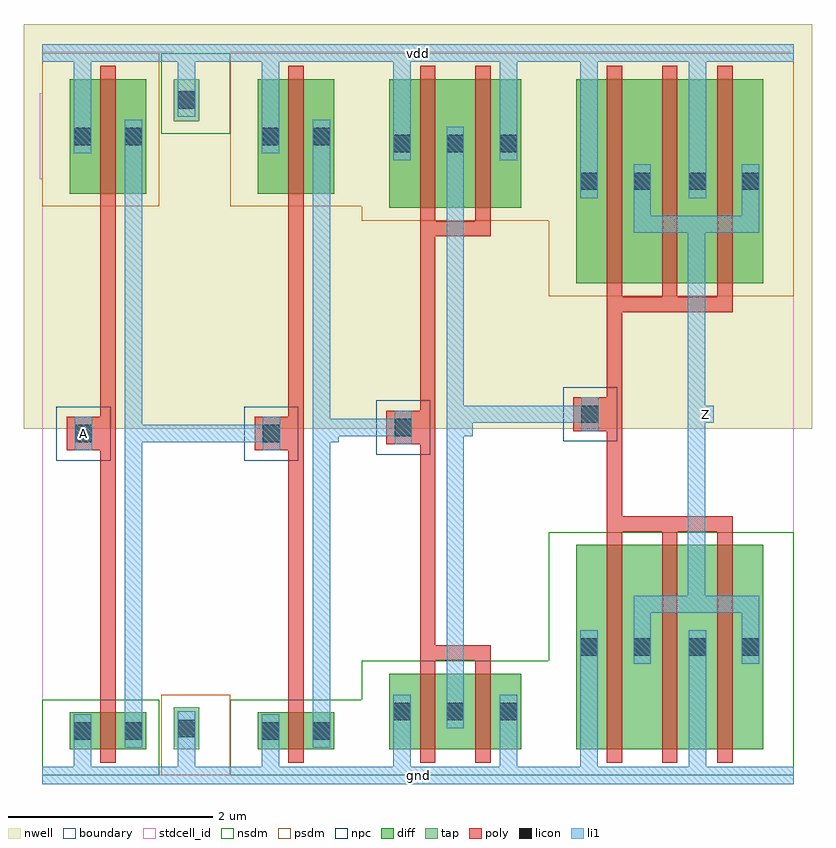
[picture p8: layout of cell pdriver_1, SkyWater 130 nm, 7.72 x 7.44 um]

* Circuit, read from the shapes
.subckt pdriver_1 A Z gnd vdd
XM1 pinv_7_1/A A gnd gnd sky130_fd_pr__nfet_01v8 w=0.36 l=0.15
XM2 pinv_3_2/A pinv_7_1/A gnd gnd sky130_fd_pr__nfet_01v8 w=0.36 l=0.15
XM3 pinv_5_3/A pinv_3_2/A gnd gnd sky130_fd_pr__nfet_01v8 w=0.74 l=0.15 m=2
XM4 Z pinv_5_3/A gnd gnd sky130_fd_pr__nfet_01v8 w=2 l=0.15 m=3
XM5 pinv_7_1/A A vdd vdd sky130_fd_pr__pfet_01v8 w=1.12 l=0.15
XM6 pinv_3_2/A pinv_7_1/A vdd vdd sky130_fd_pr__pfet_01v8 w=1.12 l=0.15
XM7 pinv_5_3/A pinv_3_2/A vdd vdd sky130_fd_pr__pfet_01v8 w=1.26 l=0.15 m=2
XM8 Z pinv_5_3/A vdd vdd sky130_fd_pr__pfet_01v8 w=2 l=0.15 m=3
.ends

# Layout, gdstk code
import gdstk
lib = gdstk.Library(unit=1e-6, precision=1e-09)
def R(c, l, rs):  # rectangles x0, y0, x1, y1
    for r in rs: c.add(gdstk.rectangle(r[:2], r[2:], *l))
def A(c, l, x, y, w, h, nx, ny, dx, dy):  # array of equal rectangles
    R(c, l, [(x+i*dx, y+j*dy, x+i*dx+w, y+j*dy+h) for i in range(nx) for j in range(ny)])
nwell = (64, 20)
diff = (65, 20)
tap = (65, 44)
poly = (66, 20)
licon = (66, 44)
li1 = (67, 20)
stdcell_id = (81, 4)
nsdm = (93, 44)
psdm = (94, 20)
npc = (95, 20)
boundary = (235, 4)

contact_11 = lib.new_cell('contact_11')
R(contact_11, nwell, [(-0.295,-0.255,0.545,0.585)])
R(contact_11, diff, [(0,0.02,0.25,0.31)])
R(contact_11, licon, [(0.04,0.08,0.21,0.25)])
R(contact_11, li1, [(0.04,0,0.21,0.33)])
R(contact_11, stdcell_id, [(-0.295,-0.255,0.545,0.585)])
R(contact_11, psdm, [(-0.125,-0.105,0.375,0.435)])
R(contact_11, boundary, [(-0.295,-0.255,0.545,0.585)])

pmos_m1_w1_120_sli_dli_d = lib.new_cell('pmos_m1_w1_120_sli_dli_da_p')
R(pmos_m1_w1_120_sli_dli_d, nwell, [(-0.27,-0.27,1.02,1.39)])
R(pmos_m1_w1_120_sli_dli_d, diff, [(0,0,0.75,1.12)])
R(pmos_m1_w1_120_sli_dli_d, poly, [(0.3,-0.13,0.45,1.25), (0.3,-0.13,0.45,1.25)])
R(pmos_m1_w1_120_sli_dli_d, li1, [(0.04,0.395,0.21,0.725), (0.54,0.395,0.71,0.725)])
R(pmos_m1_w1_120_sli_dli_d, stdcell_id, [(-0.27,-0.27,1.02,1.39)])
R(pmos_m1_w1_120_sli_dli_d, psdm, [(-0.125,-0.125,0.875,1.245)])
R(pmos_m1_w1_120_sli_dli_d, boundary, [(-0.27,-0.27,1.02,1.39)])
pmos_m1_w1_120_sli_dli_d.add(gdstk.Reference(contact_11, (0,0.395)))
pmos_m1_w1_120_sli_dli_d.add(gdstk.Reference(contact_11, (0.5,0.395)))
pmos_m1_w1_120_sli_dli_d.add(gdstk.Label('D', (0.625,0.56), layer=67, texttype=16))
pmos_m1_w1_120_sli_dli_d.add(gdstk.Label('S', (0.125,0.56), layer=67, texttype=16))
pmos_m1_w1_120_sli_dli_d.add(gdstk.Label('G', (0.375,0.56), layer=66, texttype=16))

contact_17 = lib.new_cell('contact_17')
R(contact_17, diff, [(0,0.02,0.25,0.31)])
R(contact_17, licon, [(0.04,0.08,0.21,0.25)])
R(contact_17, li1, [(0.04,0,0.21,0.33)])
R(contact_17, stdcell_id, [(-0.125,-0.105,0.375,0.435)])
R(contact_17, nsdm, [(-0.125,-0.105,0.375,0.435)])
R(contact_17, boundary, [(-0.125,-0.105,0.375,0.435)])

nmos_m1_w0_360_sli_dli_d = lib.new_cell('nmos_m1_w0_360_sli_dli_da_p')
R(nmos_m1_w0_360_sli_dli_d, diff, [(0,0,0.75,0.36)])
R(nmos_m1_w0_360_sli_dli_d, poly, [(0.3,-0.13,0.45,0.49), (0.3,-0.13,0.45,0.49)])
R(nmos_m1_w0_360_sli_dli_d, li1, [(0.04,0.015,0.21,0.345), (0.54,0.015,0.71,0.345)])
R(nmos_m1_w0_360_sli_dli_d, stdcell_id, [(-0.125,-0.13,0.875,0.49)])
R(nmos_m1_w0_360_sli_dli_d, nsdm, [(-0.125,-0.125,0.875,0.485)])
R(nmos_m1_w0_360_sli_dli_d, boundary, [(-0.125,-0.13,0.875,0.49)])
nmos_m1_w0_360_sli_dli_d.add(gdstk.Reference(contact_17, (0,0.015)))
nmos_m1_w0_360_sli_dli_d.add(gdstk.Reference(contact_17, (0.5,0.015)))
nmos_m1_w0_360_sli_dli_d.add(gdstk.Label('D', (0.625,0.18), layer=67, texttype=16))
nmos_m1_w0_360_sli_dli_d.add(gdstk.Label('S', (0.125,0.18), layer=67, texttype=16))
nmos_m1_w0_360_sli_dli_d.add(gdstk.Label('G', (0.375,0.18), layer=66, texttype=16))

contact_24 = lib.new_cell('contact_24')
R(contact_24, nwell, [(-0.295,-0.215,0.545,0.625)])
R(contact_24, tap, [(0,0,0.25,0.41)])
R(contact_24, licon, [(0.04,0.12,0.21,0.29)])
R(contact_24, li1, [(0.04,0.04,0.21,0.37)])
R(contact_24, stdcell_id, [(-0.295,-0.215,0.545,0.625)])
R(contact_24, nsdm, [(-0.125,-0.125,0.375,0.535)])
R(contact_24, boundary, [(-0.295,-0.215,0.545,0.625)])

contact_25 = lib.new_cell('contact_25')
R(contact_25, tap, [(0,0,0.25,0.41)])
R(contact_25, licon, [(0.04,0.12,0.21,0.29)])
R(contact_25, li1, [(0.04,0.04,0.21,0.37)])
R(contact_25, stdcell_id, [(-0.125,-0.125,0.375,0.535)])
R(contact_25, psdm, [(-0.125,-0.125,0.375,0.535)])
R(contact_25, boundary, [(-0.125,-0.125,0.375,0.535)])

contact_12 = lib.new_cell('contact_12')
R(contact_12, poly, [(0,0,0.33,0.33)])
R(contact_12, licon, [(0.08,0.08,0.25,0.25)])
R(contact_12, li1, [(0.08,0,0.25,0.33)])
R(contact_12, stdcell_id, [(-0.1,-0.1,0.43,0.43)])
R(contact_12, npc, [(-0.1,-0.1,0.43,0.43)])
R(contact_12, boundary, [(-0.1,-0.1,0.43,0.43)])

pinv_4 = lib.new_cell('pinv_4')
R(pinv_4, nwell, [(-0.18,3.395,2.02,7.355)])
R(pinv_4, poly, [(0.57,0.745,0.72,5.565), (0.405,3.18,0.57,3.51)])
R(pinv_4, li1, [(0,-0.085,1.84,0.085), (0.31,-0.085,0.48,0.27), (1.33,0,1.5,0.46), (0.81,0.27,0.98,6.42), (0.32,3.18,0.49,3.51), (0.895,3.26,1.065,3.43), (0.31,6.09,0.48,7.155), (1.33,6.61,1.5,7.07), (0,6.985,1.84,7.155)])
R(pinv_4, stdcell_id, [(0,0,1.84,7.07), (0,0,1.84,7.07)])
R(pinv_4, nsdm, [(0,0,1.145,0.74), (1.165,6.28,1.84,7.07)])
R(pinv_4, psdm, [(1.165,0,1.84,0.79), (0,5.57,1.145,7.07)])
R(pinv_4, boundary, [(0,0,1.84,7.07), (0,0,1.84,7.07)])
pinv_4.add(gdstk.Reference(pmos_m1_w1_120_sli_dli_d, (0.27,5.695)))
pinv_4.add(gdstk.Reference(nmos_m1_w0_360_sli_dli_d, (0.27,0.255)))
pinv_4.add(gdstk.Reference(contact_24, (1.29,6.405)))
pinv_4.add(gdstk.Reference(contact_25, (1.29,0.255)))
pinv_4.add(gdstk.Reference(contact_12, (0.24,3.18)))
pinv_4.add(gdstk.Label('vdd', (0.92,7.07), layer=67, texttype=16))
pinv_4.add(gdstk.Label('gnd', (0.92,0), layer=67, texttype=16))
pinv_4.add(gdstk.Label('Z', (0.98,3.345), layer=67, texttype=16))
pinv_4.add(gdstk.Label('A', (0.405,3.345), layer=67, texttype=16))

pinv_7 = lib.new_cell('pinv_7')
R(pinv_7, nwell, [(-0.18,3.395,1.47,7.355)])
R(pinv_7, poly, [(0.57,0.745,0.72,5.565), (0.405,3.18,0.57,3.51)])
R(pinv_7, li1, [(0,-0.085,1.29,0.085), (0.31,-0.085,0.48,0.27), (0.81,0.27,0.98,6.42), (0.32,3.18,0.49,3.51), (0.895,3.26,1.065,3.43), (0.31,6.09,0.48,7.155), (0,6.985,1.29,7.155)])
R(pinv_7, stdcell_id, [(0,0,1.29,7.07), (0,0,1.29,7.07)])
R(pinv_7, nsdm, [(0,0,1.29,0.74)])
R(pinv_7, psdm, [(0,5.57,1.29,7.07)])
R(pinv_7, boundary, [(0,0,1.29,7.07), (0,0,1.29,7.07)])
pinv_7.add(gdstk.Reference(pmos_m1_w1_120_sli_dli_d, (0.27,5.695)))
pinv_7.add(gdstk.Reference(nmos_m1_w0_360_sli_dli_d, (0.27,0.255)))
pinv_7.add(gdstk.Reference(contact_12, (0.24,3.18)))
pinv_7.add(gdstk.Label('vdd', (0.645,7.07), layer=67, texttype=16))
pinv_7.add(gdstk.Label('gnd', (0.645,0), layer=67, texttype=16))
pinv_7.add(gdstk.Label('Z', (0.98,3.345), layer=67, texttype=16))
pinv_7.add(gdstk.Label('A', (0.405,3.345), layer=67, texttype=16))

pmos_m2_w1_260_sli_dli_d = lib.new_cell('pmos_m2_w1_260_sli_dli_da_p')
R(pmos_m2_w1_260_sli_dli_d, nwell, [(-0.27,-0.27,1.56,1.53)])
R(pmos_m2_w1_260_sli_dli_d, diff, [(0,0,1.29,1.26)])
R(pmos_m2_w1_260_sli_dli_d, poly, [(0.3,-0.28,0.99,-0.13), (0.3,-0.13,0.45,1.39), (0.84,-0.13,0.99,1.39)])
A(pmos_m2_w1_260_sli_dli_d, li1, 0.04, 0.465, 0.17, 0.33, 3, 1, 0.52, 0)
R(pmos_m2_w1_260_sli_dli_d, stdcell_id, [(-0.27,-0.27,1.56,1.53)])
R(pmos_m2_w1_260_sli_dli_d, psdm, [(-0.125,-0.125,1.415,1.385)])
R(pmos_m2_w1_260_sli_dli_d, boundary, [(-0.27,-0.27,1.56,1.53)])
pmos_m2_w1_260_sli_dli_d.add(gdstk.Reference(contact_11, (0,0.465)))
pmos_m2_w1_260_sli_dli_d.add(gdstk.Reference(contact_11, (0.52,0.465)))
pmos_m2_w1_260_sli_dli_d.add(gdstk.Reference(contact_11, (1.04,0.465)))
pmos_m2_w1_260_sli_dli_d.add(gdstk.Label('D', (0.645,0.63), layer=67, texttype=16))
pmos_m2_w1_260_sli_dli_d.add(gdstk.Label('S', (0.125,0.63), layer=67, texttype=16))
pmos_m2_w1_260_sli_dli_d.add(gdstk.Label('S', (1.165,0.63), layer=67, texttype=16))
pmos_m2_w1_260_sli_dli_d.add(gdstk.Label('G', (0.645,-0.205), layer=66, texttype=16))

nmos_m2_w0_740_sli_dli_d = lib.new_cell('nmos_m2_w0_740_sli_dli_da_p')
R(nmos_m2_w0_740_sli_dli_d, diff, [(0,0,1.29,0.74)])
R(nmos_m2_w0_740_sli_dli_d, poly, [(0.3,-0.13,0.45,0.87), (0.84,-0.13,0.99,0.87), (0.3,0.87,0.99,1.02)])
A(nmos_m2_w0_740_sli_dli_d, li1, 0.04, 0.205, 0.17, 0.33, 3, 1, 0.52, 0)
R(nmos_m2_w0_740_sli_dli_d, stdcell_id, [(-0.125,-0.13,1.415,0.87)])
R(nmos_m2_w0_740_sli_dli_d, nsdm, [(-0.125,-0.125,1.415,0.865)])
R(nmos_m2_w0_740_sli_dli_d, boundary, [(-0.125,-0.13,1.415,0.87)])
nmos_m2_w0_740_sli_dli_d.add(gdstk.Reference(contact_17, (0,0.205)))
nmos_m2_w0_740_sli_dli_d.add(gdstk.Reference(contact_17, (0.52,0.205)))
nmos_m2_w0_740_sli_dli_d.add(gdstk.Reference(contact_17, (1.04,0.205)))
nmos_m2_w0_740_sli_dli_d.add(gdstk.Label('D', (0.645,0.37), layer=67, texttype=16))
nmos_m2_w0_740_sli_dli_d.add(gdstk.Label('S', (0.125,0.37), layer=67, texttype=16))
nmos_m2_w0_740_sli_dli_d.add(gdstk.Label('S', (1.165,0.37), layer=67, texttype=16))
nmos_m2_w0_740_sli_dli_d.add(gdstk.Label('G', (0.645,0.945), layer=66, texttype=16))

pinv_3 = lib.new_cell('pinv_3')
R(pinv_3, nwell, [(-0.18,3.395,2.01,7.355)])
R(pinv_3, poly, [(0.57,1.275,0.72,5.275), (0.405,3.24,0.57,3.57)])
R(pinv_3, li1, [(0,-0.085,1.83,0.085), (0.31,-0.085,0.48,0.46), (1.35,-0.085,1.52,0.46), (0.83,0.46,1,6.35), (0.32,3.24,0.49,3.57), (0.915,3.32,1.085,3.49), (0.31,6.02,0.48,7.155), (1.35,6.02,1.52,7.155), (0,6.985,1.83,7.155)])
R(pinv_3, stdcell_id, [(0,0,1.83,7.07), (0,0,1.83,7.07)])
R(pinv_3, nsdm, [(0,0,1.83,1.12)])
R(pinv_3, psdm, [(0,5.43,1.83,7.07)])
R(pinv_3, boundary, [(0,0,1.83,7.07), (0,0,1.83,7.07)])
pinv_3.add(gdstk.Reference(pmos_m2_w1_260_sli_dli_d, (0.27,5.555)))
pinv_3.add(gdstk.Reference(nmos_m2_w0_740_sli_dli_d, (0.27,0.255)))
pinv_3.add(gdstk.Reference(contact_12, (0.24,3.24)))
pinv_3.add(gdstk.Label('vdd', (0.915,7.07), layer=67, texttype=16))
pinv_3.add(gdstk.Label('gnd', (0.915,0), layer=67, texttype=16))
pinv_3.add(gdstk.Label('Z', (1,3.405), layer=67, texttype=16))
pinv_3.add(gdstk.Label('A', (0.405,3.405), layer=67, texttype=16))

pmos_m3_w2_000_sli_dli_d = lib.new_cell('pmos_m3_w2_000_sli_dli_da_p')
R(pmos_m3_w2_000_sli_dli_d, nwell, [(-0.27,-0.27,2.1,2.27)])
R(pmos_m3_w2_000_sli_dli_d, diff, [(0,0,1.83,2)])
A(pmos_m3_w2_000_sli_dli_d, poly, 0.3, -0.13, 0.15, 2.26, 3, 1, 0.54, 0)
R(pmos_m3_w2_000_sli_dli_d, poly, [(0.3,-0.28,1.53,-0.13)])
R(pmos_m3_w2_000_sli_dli_d, li1, [(0.56,0.495,1.79,0.665), (0.56,0.58,0.73,1), (1.62,0.58,1.79,1), (0.04,0.835,0.21,1.165), (1.1,0.835,1.27,1.165)])
R(pmos_m3_w2_000_sli_dli_d, stdcell_id, [(-0.27,-0.27,2.1,2.27)])
R(pmos_m3_w2_000_sli_dli_d, psdm, [(-0.125,-0.125,1.955,2.125)])
R(pmos_m3_w2_000_sli_dli_d, boundary, [(-0.27,-0.27,2.1,2.27)])
pmos_m3_w2_000_sli_dli_d.add(gdstk.Reference(contact_11, (0,0.835)))
pmos_m3_w2_000_sli_dli_d.add(gdstk.Reference(contact_11, (0.52,0.835)))
pmos_m3_w2_000_sli_dli_d.add(gdstk.Reference(contact_11, (1.06,0.835)))
pmos_m3_w2_000_sli_dli_d.add(gdstk.Reference(contact_11, (1.58,0.835)))
pmos_m3_w2_000_sli_dli_d.add(gdstk.Label('D', (1.175,0.58), layer=67, texttype=16))
pmos_m3_w2_000_sli_dli_d.add(gdstk.Label('S', (1.185,1), layer=67, texttype=16))
pmos_m3_w2_000_sli_dli_d.add(gdstk.Label('S', (0.125,1), layer=67, texttype=16))
pmos_m3_w2_000_sli_dli_d.add(gdstk.Label('G', (0.915,-0.205), layer=66, texttype=16))

nmos_m3_w2_000_sli_dli_d = lib.new_cell('nmos_m3_w2_000_sli_dli_da_p')
R(nmos_m3_w2_000_sli_dli_d, diff, [(0,0,1.83,2)])
A(nmos_m3_w2_000_sli_dli_d, poly, 0.3, -0.13, 0.15, 2.26, 3, 1, 0.54, 0)
R(nmos_m3_w2_000_sli_dli_d, poly, [(0.3,2.13,1.53,2.28)])
R(nmos_m3_w2_000_sli_dli_d, li1, [(0.04,0.835,0.21,1.165), (1.1,0.835,1.27,1.165), (0.56,1,0.73,1.42), (1.62,1,1.79,1.42), (0.56,1.335,1.79,1.505)])
R(nmos_m3_w2_000_sli_dli_d, stdcell_id, [(-0.125,-0.13,1.955,2.13)])
R(nmos_m3_w2_000_sli_dli_d, nsdm, [(-0.125,-0.125,1.955,2.125)])
R(nmos_m3_w2_000_sli_dli_d, boundary, [(-0.125,-0.13,1.955,2.13)])
nmos_m3_w2_000_sli_dli_d.add(gdstk.Reference(contact_17, (0,0.835)))
nmos_m3_w2_000_sli_dli_d.add(gdstk.Reference(contact_17, (0.52,0.835)))
nmos_m3_w2_000_sli_dli_d.add(gdstk.Reference(contact_17, (1.06,0.835)))
nmos_m3_w2_000_sli_dli_d.add(gdstk.Reference(contact_17, (1.58,0.835)))
nmos_m3_w2_000_sli_dli_d.add(gdstk.Label('D', (1.175,1.42), layer=67, texttype=16))
nmos_m3_w2_000_sli_dli_d.add(gdstk.Label('S', (1.185,1), layer=67, texttype=16))
nmos_m3_w2_000_sli_dli_d.add(gdstk.Label('S', (0.125,1), layer=67, texttype=16))
nmos_m3_w2_000_sli_dli_d.add(gdstk.Label('G', (0.915,2.205), layer=66, texttype=16))

pinv_5 = lib.new_cell('pinv_5')
R(pinv_5, nwell, [(-0.18,3.395,2.58,7.355)])
R(pinv_5, poly, [(0.57,2.535,0.72,4.535), (0.405,3.37,0.57,3.7)])
R(pinv_5, li1, [(0,-0.085,2.4,0.085), (0.31,-0.085,0.48,1.09), (1.37,-0.085,1.54,1.09), (1.36,1.59,1.53,5.48), (0.32,3.37,0.49,3.7), (1.445,3.45,1.615,3.62), (0.31,5.65,0.48,7.155), (1.37,5.65,1.54,7.155), (0,6.985,2.4,7.155)])
R(pinv_5, stdcell_id, [(0,0,2.4,7.07), (0,0,2.4,7.07)])
R(pinv_5, nsdm, [(0,0,2.4,2.38)])
R(pinv_5, psdm, [(0,4.69,2.4,7.07)])
R(pinv_5, boundary, [(0,0,2.4,7.07), (0,0,2.4,7.07)])
pinv_5.add(gdstk.Reference(pmos_m3_w2_000_sli_dli_d, (0.27,4.815)))
pinv_5.add(gdstk.Reference(nmos_m3_w2_000_sli_dli_d, (0.27,0.255)))
pinv_5.add(gdstk.Reference(contact_12, (0.24,3.37)))
pinv_5.add(gdstk.Label('vdd', (1.2,7.07), layer=67, texttype=16))
pinv_5.add(gdstk.Label('gnd', (1.2,0), layer=67, texttype=16))
pinv_5.add(gdstk.Label('Z', (1.53,3.535), layer=67, texttype=16))
pinv_5.add(gdstk.Label('A', (0.405,3.535), layer=67, texttype=16))

pdriver_1 = lib.new_cell('pdriver_1')
R(pdriver_1, nwell, [(-0.18,3.395,7.54,7.355)])
R(pdriver_1, li1, [(0,-0.085,7.36,0.085), (0.32,3.18,0.49,3.51), (0.98,3.26,2.245,3.43), (2.735,3.32,2.905,3.49), (2.82,3.32,3.535,3.49), (2.735,3.345,2.905,3.405), (4.045,3.405,4.215,3.535), (4.045,3.45,4.215,3.62), (4.13,3.45,5.365,3.62), (6.405,3.45,6.575,3.62), (0,6.985,7.36,7.155)])
R(pdriver_1, stdcell_id, [(0,0,7.36,7.07), (0,0,7.36,7.07)])
R(pdriver_1, boundary, [(0,0,7.36,7.07), (0,0,7.36,7.07)])
pdriver_1.add(gdstk.Reference(pinv_4, (0,0)))
pdriver_1.add(gdstk.Reference(pinv_7, (1.84,0)))
pdriver_1.add(gdstk.Reference(pinv_3, (3.13,0)))
pdriver_1.add(gdstk.Reference(pinv_5, (4.96,0)))
pdriver_1.add(gdstk.Label('vdd', (3.68,7.07), layer=67, texttype=16))
pdriver_1.add(gdstk.Label('gnd', (3.68,0), layer=67, texttype=16))
pdriver_1.add(gdstk.Label('Z', (6.49,3.535), layer=67, texttype=16))
pdriver_1.add(gdstk.Label('A', (0.405,3.345), layer=67, texttype=16))

lib.write_gds('pdriver_1.gds')
